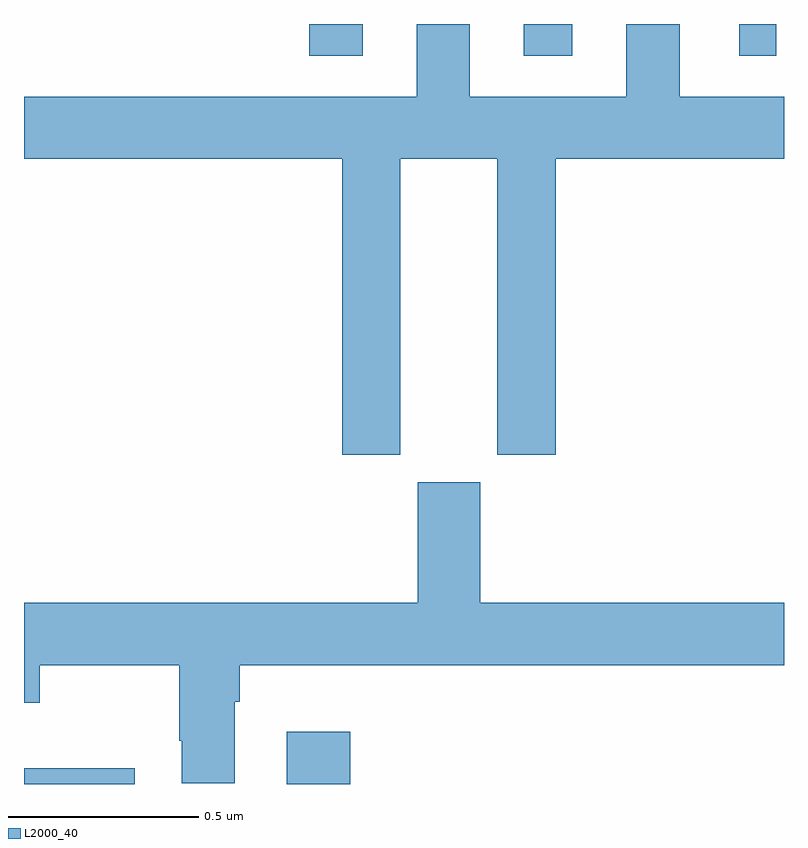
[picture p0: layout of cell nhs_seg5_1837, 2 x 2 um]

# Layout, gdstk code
import gdstk
lib = gdstk.Library(unit=1e-6, precision=1e-09)
def R(c, l, rs):  # rectangles x0, y0, x1, y1
    for r in rs: c.add(gdstk.rectangle(r[:2], r[2:], *l))
def P(c, l, *ps):  # polygons
    for p in ps: c.add(gdstk.Polygon(p, *l))
L2000_40 = (2000, 40)

nhs_seg5_1837 = lib.new_cell('nhs_seg5_1837')
R(nhs_seg5_1837, L2000_40, [(136,837.799,136.291,837.841), (136.691,837.799,136.859,837.937), (136.751,839.715,136.891,839.799), (137.315,839.715,137.443,839.799), (137.882,839.715,137.98,839.799)])
P(nhs_seg5_1837, L2000_40, [(136.99,839.444),(137.246,839.444),(137.246,838.665),(137.399,838.665),(137.399,839.444),(138,839.444),(138,839.608),(137.725,839.608),(137.725,839.799),(137.585,839.799),(137.585,839.608),(137.173,839.608),(137.173,839.799),(137.033,839.799),(137.033,839.608),(136,839.608),(136,839.444),(136.838,839.444),(136.838,838.665),(136.99,838.665)],
  [(136.555,838.016),(136.568,838.016),(136.568,838.112),(138,838.112),(138,838.276),(137.2,838.276),(137.2,838.593),(137.036,838.593),(137.036,838.276),(136,838.276),(136,838.013),(136.041,838.013),(136.041,838.112),(136.408,838.112),(136.408,837.913),(136.415,837.913),(136.415,837.801),(136.555,837.801)])

lib.write_gds('nhs_seg5_1837.gds')
